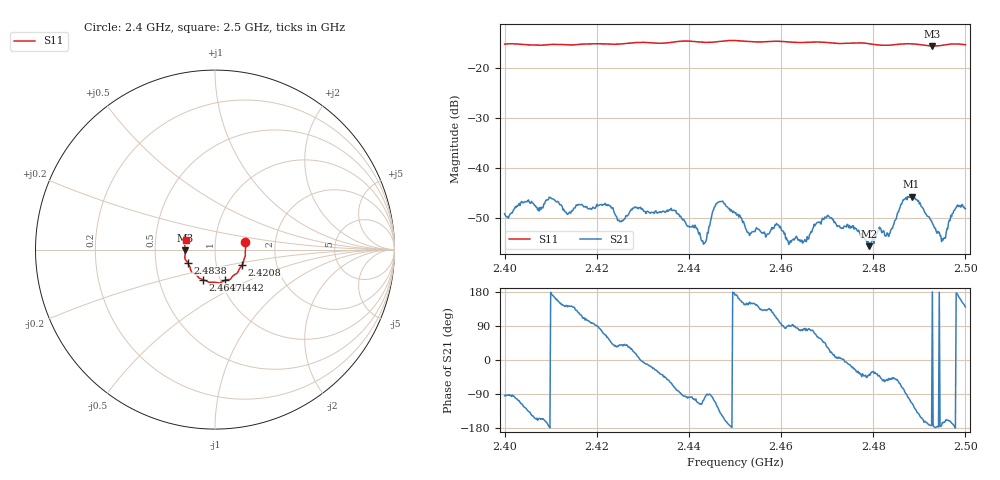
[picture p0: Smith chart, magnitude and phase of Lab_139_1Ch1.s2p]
# Hz S RI R 50
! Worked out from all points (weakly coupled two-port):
!   601 points, 2.4 GHz to 2.5 GHz, reference 50 ohm
!   highest |S21| = -45.72 dB at 2.4883 GHz (marker M1); lowest = -55.6 dB at 2.4792 GHz (marker M2)
!   lowest |S11| = -15.6 dB at 2.4928 GHz (marker M3), VSWR 1.40, Z = 35.8 - j0.357 ohm
!   |S11| at or under -10 dB: start of sweep to end of sweep
!   S12 and S22 are empty: the file has one direction only
!   S11 on the Smith chart (normalised r, x): 2.4 GHz: 1.40, +0.12; 2.4208 GHz: 1.33, -0.24; 2.4442 GHz: 1.05, -0.37; 2.4647 GHz: 0.83, -0.29; 2.4838 GHz: 0.73, -0.11; 2.5 GHz: 0.72, +0.08
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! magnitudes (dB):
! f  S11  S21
! 2.4 GHz  -15.2  -49.1
! 2.4167 GHz  -15.2  -47.3
! 2.4208 GHz  -15.2  -47.3
! 2.425 GHz  -15.2  -50.8
! 2.4333 GHz  -15.0  -48.9
! 2.4432 GHz  -14.9  -55.3
! 2.4442 GHz  -14.9  -53.0
! 2.4463 GHz  -14.7  -46.9
! 2.45 GHz  -14.5  -49.0
! 2.453 GHz  -14.7  -53.0
! 2.4592 GHz  -14.6  -51.3
! 2.4647 GHz  -14.9  -55.0
! 2.4667 GHz  -14.8  -52.8
! 2.4705 GHz  -15.0  -49.8
! 2.4792 GHz  -15.2  -55.6
! 2.4833 GHz  -15.5  -53.7
! 2.4838 GHz  -15.4  -52.4
! 2.4883 GHz  -15.2  -45.7
! 2.4928 GHz  -15.6  -51.1
! 2.4952 GHz  -15.4  -54.4
! 2.4978 GHz  -15.2  -48.1
! 2.5 GHz  -15.3  -48.1
